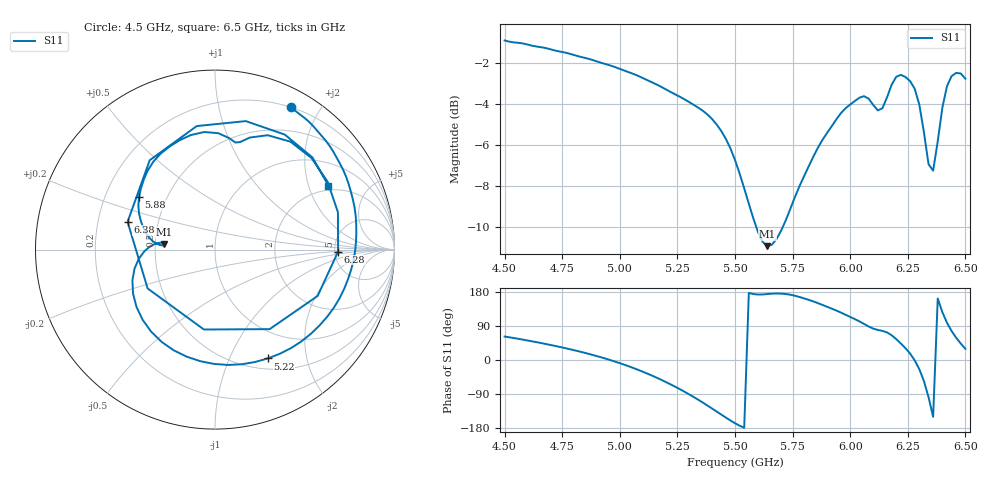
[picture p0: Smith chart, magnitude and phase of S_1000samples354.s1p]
! TOUCHSTONE file generated by CST MICROWAVE STUDIO
! Date and time: Thu Oct 27 21:18:16 2022
! Project name: L.cst
! Parameters = {Di=1.27; Epsilon_r=1.56; InnerDiameter=1.27; Length=2; Lf=10; Lg=60; OuterConductorThickness=0.2921; OuterDiameter=3.6; Wf=3; Wp=41.2; de=1.5; df=6.8; g=0.8; gx=1.71515; gy=0.928014; h=2.34; hf=1.524; px=9.40431; py=12.3822; w=9.7; wx=7.68915; wy=11.4542}
! Header version: 2018
! Port assignment regex: !\s*Touchstone port\s*([0-9]+)\s*=\s*(CST MWS port|CST DS port)\s*([0-9]+|Zmin|Zmax)\s*\(\"(.*)\"\)(\s*mode\s*([0-9]+))?.*
! Touchstone port assignment:
! Touchstone port 1 = CST MWS port 1 ("")
# GHz S DB R 50
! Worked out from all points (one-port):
!   101 points, 4.5 GHz to 6.5 GHz, reference 50 ohm
!   lowest |S11| = -10.9 dB at 5.64 GHz (marker M1), VSWR 1.79, Z = 27.9 + j1.81 ohm
!   |S11| at or under -10 dB: 5.592 GHz to 5.708 GHz (115.4 MHz wide, 2.04 % of centre)
!   S11 on the Smith chart (normalised r, x): 4.5 GHz: 0.20, +1.65; 5.22 GHz: 0.63, -1.40; 5.88 GHz: 0.35, +0.28; 6.28 GHz: 5.36, -0.22; 6.38 GHz: 0.33, +0.14; 6.5 GHz: 1.81, +2.72
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4.5  -0.92 61.9
4.76  -1.51 31.8
5  -2.31 -8.4
5.1  -2.75 -31.0
5.22  -3.43 -64.2
5.26  -3.66 -76.8
5.34  -4.19 -104.7
5.4  -4.74 -127.9
5.5  -6.74 -166.8
5.56  -8.87 176.9
5.64  -10.94 174.0
5.76  -8.55 169.6
5.88  -5.76 145.2
6  -4.04 113.6
6.06  -3.64 95.2
6.18  -3.08 65.2
6.22  -2.60 43.5
6.26  -2.90 16.9
6.28  -3.28 -0.9
6.3  -4.05 -24.3
6.32  -5.39 -55.5
6.34  -6.95 -97.9
6.36  -7.26 -150.0
6.38  -5.83 162.4
6.4  -4.20 126.2
6.42  -3.15 98.4
6.46  -2.50 58.7
6.5  -2.79 29.4
